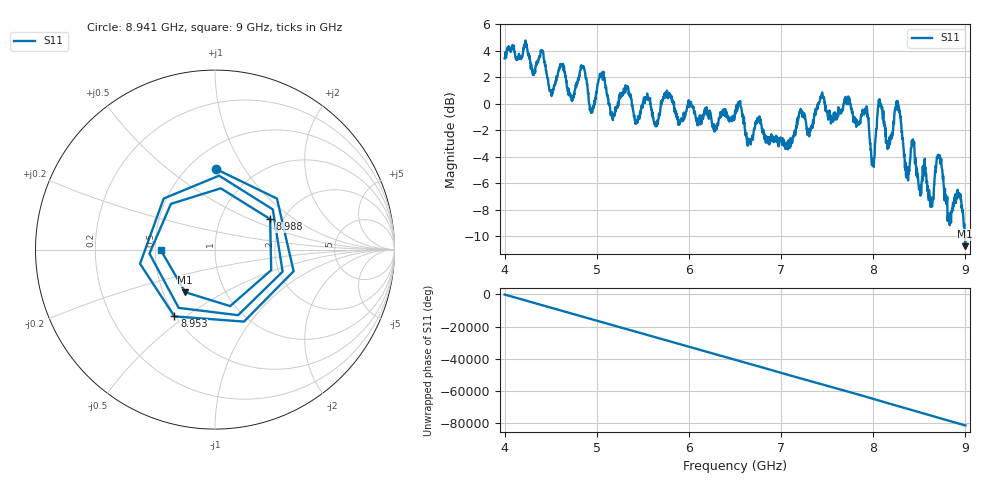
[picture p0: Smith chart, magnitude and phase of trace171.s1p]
! Created with skrf 1.8.0 (http://scikit-rf.org).
# Hz S RI R 50.0
!freq ReS11 ImS11
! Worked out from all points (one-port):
!   1601 points, 4 GHz to 9 GHz, reference 50 ohm
!   lowest |S11| = -10.8 dB at 8.997 GHz (marker M1), VSWR 1.82, Z = 32.3 - j16.8 ohm
!   |S11| at or under -10 dB: 8.994772 GHz to end of sweep
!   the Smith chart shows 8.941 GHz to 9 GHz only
!   S11 on the Smith chart (normalised r, x): 8.941 GHz: 0.67, +0.75; 8.953 GHz: 0.49, -0.45; 8.988 GHz: 1.72, +0.67; 9 GHz: 0.54, -0.01
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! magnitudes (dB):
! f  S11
! 4 GHz  3.4
! 4.403 GHz  4.0
! 4.506 GHz  0.8
! 4.625 GHz  2.9
! 4.728 GHz  0.3
! 4.85 GHz  2.8
! 4.941 GHz  -0.5
! 5.05 GHz  2.3
! 5.25 GHz  0.4
! 5.875 GHz  -1.2
! 6.5 GHz  -0.6
! 7.125 GHz  -2.7
! 7.75 GHz  0.0
! 7.925 GHz  -0.7
! 7.991 GHz  -4.6
! 8.069 GHz  0.3
! 8.162 GHz  -3.2
! 8.266 GHz  0.2
! 8.375 GHz  -5.3
! 8.431 GHz  -2.7
! 8.628 GHz  -7.4
! 8.712 GHz  -4.0
! 8.831 GHz  -9.2
! 8.941 GHz  -7.0
! 8.953 GHz  -7.2
! 8.988 GHz  -9.1
! 8.997 GHz  -10.8
! 9 GHz  -10.4
